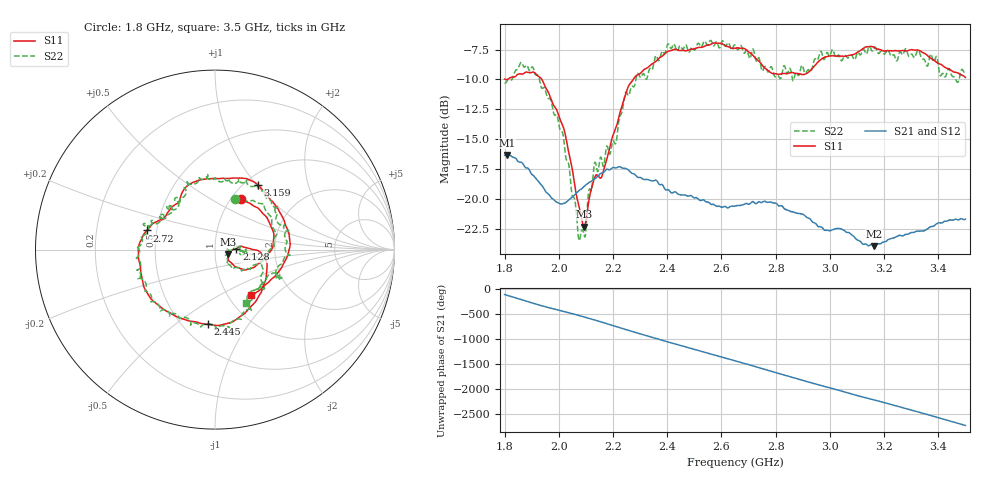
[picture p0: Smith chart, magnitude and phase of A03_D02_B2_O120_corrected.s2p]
! Created with skrf 1.9.0 (http://scikit-rf.org).
# Hz S RI R 50.0
!freq ReS11 ImS11 ReS21 ImS21 ReS12 ImS12 ReS22 ImS22
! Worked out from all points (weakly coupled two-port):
!   1601 points, 1.8 GHz to 3.5 GHz, reference 50 ohm
!   highest |S21| = -16.33 dB at 1.808 GHz (marker M1); lowest = -24.0 dB at 3.163 GHz (marker M2)
!   lowest |S11| = -22.3 dB at 2.093 GHz (marker M3), VSWR 1.17, Z = 57.7 - j2.9 ohm
!   |S11| at or under -10 dB: 1.803398 GHz to 1.810521 GHz (7.123 MHz wide, 0.394 % of centre); 1.937 GHz to 2.274 GHz (337.1 MHz wide, 16 % of centre)
!   |S22| runs from -23.5 to -6.7 dB; largest |S21 - S12| = 0.0025
!   S11 on the Smith chart (normalised r, x): 1.8 GHz: 1.11, +0.70; 2.128 GHz: 1.27, +0.01; 2.445 GHz: 0.66, -0.67; 2.72 GHz: 0.44, +0.11; 3.159 GHz: 1.14, +1.02; 3.5 GHz: 1.27, -0.72
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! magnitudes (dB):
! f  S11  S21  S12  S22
! 1.8 GHz  -10.0  -16.4  -16.4  -10.3
! 1.808 GHz  -10.0  -16.3  -16.3  -10.1
! 1.902 GHz  -9.4  -18.0  -17.9  -9.0
! 1.968 GHz  -11.4  -19.8  -19.8  -11.6
! 2.021 GHz  -14.3  -20.4  -20.4  -15.6
! 2.072 GHz  -20.4  -19.4  -19.4  -23.2
! 2.084 GHz  -21.6  -19.2  -19.1  -22.7
! 2.093 GHz  -22.3  -19.0  -19.0  -23.0
! 2.128 GHz  -18.5  -18.4  -18.4  -17.6
! 2.16 GHz  -18.0  -17.8  -17.8  -17.0
! 2.208 GHz  -14.2  -17.4  -17.4  -15.4
! 2.259 GHz  -10.5  -17.6  -17.6  -11.3
! 2.367 GHz  -8.3  -18.7  -18.6  -8.4
! 2.445 GHz  -7.6  -19.6  -19.6  -7.2
! 2.65 GHz  -7.4  -20.6  -20.6  -7.1
! 2.72 GHz  -8.1  -20.3  -20.2  -7.7
! 2.81 GHz  -9.6  -20.6  -20.5  -9.7
! 2.934 GHz  -9.1  -21.9  -21.8  -9.2
! 3.159 GHz  -7.3  -23.9  -23.8  -7.6
! 3.163 GHz  -7.3  -24.0  -23.9  -7.4
! 3.217 GHz  -7.6  -23.4  -23.4  -7.6
! 3.5 GHz  -9.8  -21.7  -21.7  -9.3
